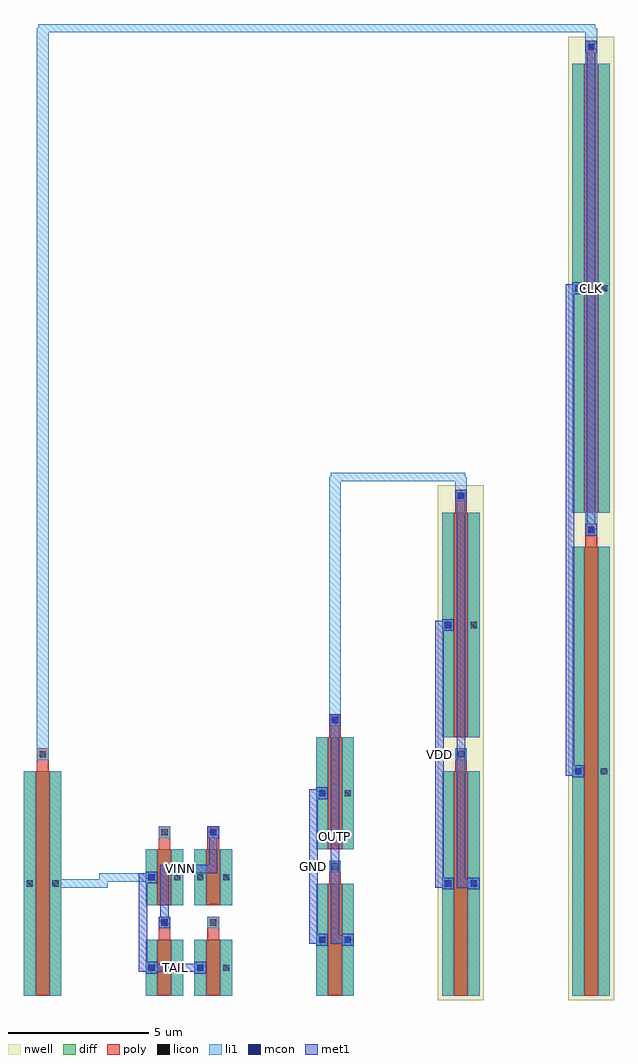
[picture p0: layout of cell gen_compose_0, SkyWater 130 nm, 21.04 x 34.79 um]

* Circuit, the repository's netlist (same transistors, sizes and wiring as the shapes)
* extracted by klt extract --deck sky130

* cell gen_compose_0
* pin CLK
* pin GND
* pin OUTP
* pin TAIL
* pin VDD
* pin VINN
* pin vsubs
.SUBCKT gen_compose_0 CLK GND OUTP TAIL VDD VINN vsubs
* device instance $1 r0 *1 5.01,1 nfet
M$1 \$7 VINN TAIL vsubs nfet L=0.5U W=2U AS=0.84P AD=0.84P PS=4.84U PD=4.84U
* device instance $2 r0 *1 6.75,1 nfet
M$2 \$8 \$1 TAIL vsubs nfet L=0.5U W=2U AS=0.84P AD=0.84P PS=4.84U PD=4.84U
* device instance $3 r0 *1 11.09,2 nfet
M$3 OUTP \$2 GND vsubs nfet L=0.5U W=4U AS=1.68P AD=1.68P PS=8.84U PD=8.84U
* device instance $4 r0 *1 5.01,4.22 nfet
M$4 \$11 \$5 TAIL vsubs nfet L=0.5U W=2U AS=0.84P AD=0.84P PS=4.84U PD=4.84U
* device instance $5 r0 *1 6.75,4.22 nfet
M$5 \$13 VINN \$12 vsubs nfet L=0.5U W=2U AS=0.84P AD=0.84P PS=4.84U PD=4.84U
* device instance $6 r0 *1 0.67,4 nfet
M$6 TAIL CLK \$10 vsubs nfet L=0.5U W=8U AS=3.36P AD=3.36P PS=16.84U PD=16.84U
* device instance $7 r0 *1 11.09,7.22 nfet
M$7 \$16 OUTP GND vsubs nfet L=0.5U W=4U AS=1.68P AD=1.68P PS=8.84U PD=8.84U
* device instance $8 r0 *1 15.58,4 pfet
M$8 OUTP \$3 VDD \$22 pfet L=0.5U W=8U AS=3.36P AD=3.36P PS=16.84U PD=16.84U
* device instance $9 r0 *1 20.22,8 pfet
M$9 \$19 CLK \$18 \$23 pfet L=0.5U W=16U AS=6.72P AD=6.72P PS=32.84U PD=32.84U
* device instance $10 r0 *1 15.58,13.22 pfet
M$10 \$17 OUTP VDD \$22 pfet L=0.5U W=8U AS=3.36P AD=3.36P PS=16.84U PD=16.84U
* device instance $11 r0 *1 20.22,25.22 pfet
M$11 \$21 CLK \$18 \$23 pfet L=0.5U W=16U AS=6.72P AD=6.72P PS=32.84U PD=32.84U
.ENDS gen_compose_0

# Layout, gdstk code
import gdstk
lib = gdstk.Library(unit=1e-6, precision=1e-09)
def R(c, l, rs):  # rectangles x0, y0, x1, y1
    for r in rs: c.add(gdstk.rectangle(r[:2], r[2:], *l))
nwell = (64, 20)
diff = (65, 20)
poly = (66, 20)
licon = (66, 44)
li1 = (67, 20)
mcon = (67, 44)
met1 = (68, 20)

mos_array = lib.new_cell('mos_array')
R(mos_array, diff, [(0,0,1.34,8)])
R(mos_array, poly, [(0.42,0,0.92,8), (0.46,8,0.88,8.82)])
R(mos_array, licon, [(0.1,3.89,0.32,4.11), (1.02,3.89,1.24,4.11), (0.56,8.5,0.78,8.72)])
R(mos_array, li1, [(0,0,0.42,8), (0.92,0,1.34,8), (0.46,8.4,0.88,8.82)])

tail__tail = lib.new_cell('tail__TAIL')
tail__tail.add(gdstk.Reference(mos_array, (0,0)))

diff_pair = lib.new_cell('diff_pair')
R(diff_pair, diff, [(0,0,1.34,2), (1.74,0,3.08,2), (0,3.22,1.34,5.22), (1.74,3.22,3.08,5.22)])
R(diff_pair, poly, [(0.42,0,0.92,2), (2.16,0,2.66,2), (0.46,2,0.88,2.82), (2.2,2,2.62,2.82), (0.42,3.22,0.92,5.22), (2.16,3.22,2.66,5.22), (0.46,5.22,0.88,6.04), (2.2,5.22,2.62,6.04)])
R(diff_pair, licon, [(0.1,0.89,0.32,1.11), (1.02,0.89,1.24,1.11), (1.84,0.89,2.06,1.11), (2.76,0.89,2.98,1.11), (0.56,2.5,0.78,2.72), (2.3,2.5,2.52,2.72), (0.1,4.11,0.32,4.33), (1.02,4.11,1.24,4.33), (1.84,4.11,2.06,4.33), (2.76,4.11,2.98,4.33), (0.56,5.72,0.78,5.94), (2.3,5.72,2.52,5.94)])
R(diff_pair, li1, [(0,0,0.42,2), (0.92,0,1.34,2), (1.74,0,2.16,2), (2.66,0,3.08,2), (0.46,2.4,0.88,2.82), (2.2,2.4,2.62,2.82), (0,3.22,0.42,5.22), (0.92,3.22,1.34,5.22), (1.74,3.22,2.16,5.22), (2.66,3.22,3.08,5.22), (0.46,5.62,0.88,6.04), (2.2,5.62,2.62,6.04)])

inpair__inpair = lib.new_cell('inpair__INPAIR')
inpair__inpair.add(gdstk.Reference(diff_pair, (0,0)))

diff_pair_1 = lib.new_cell('diff_pair$1')
R(diff_pair_1, diff, [(0,0,1.34,4), (0,5.22,1.34,9.22)])
R(diff_pair_1, poly, [(0.42,0,0.92,4), (0.46,4,0.88,4.82), (0.42,5.22,0.92,9.22), (0.46,9.22,0.88,10.04)])
R(diff_pair_1, licon, [(0.1,1.89,0.32,2.11), (1.02,1.89,1.24,2.11), (0.56,4.5,0.78,4.72), (0.1,7.11,0.32,7.33), (1.02,7.11,1.24,7.33), (0.56,9.72,0.78,9.94)])
R(diff_pair_1, li1, [(0,0,0.42,4), (0.92,0,1.34,4), (0.46,4.4,0.88,4.82), (0,5.22,0.42,9.22), (0.92,5.22,1.34,9.22), (0.46,9.62,0.88,10.04)])

latn__latn = lib.new_cell('latn__LATN')
latn__latn.add(gdstk.Reference(diff_pair_1, (0,0)))

diff_pair_2 = lib.new_cell('diff_pair$2')
R(diff_pair_2, nwell, [(-0.15,-0.15,1.49,18.19)])
R(diff_pair_2, diff, [(0,0,1.34,8), (0,9.22,1.34,17.22)])
R(diff_pair_2, poly, [(0.42,0,0.92,8), (0.46,8,0.88,8.82), (0.42,9.22,0.92,17.22), (0.46,17.22,0.88,18.04)])
R(diff_pair_2, licon, [(0.1,3.89,0.32,4.11), (1.02,3.89,1.24,4.11), (0.56,8.5,0.78,8.72), (0.1,13.11,0.32,13.33), (1.02,13.11,1.24,13.33), (0.56,17.72,0.78,17.94)])
R(diff_pair_2, li1, [(0,0,0.42,8), (0.92,0,1.34,8), (0.46,8.4,0.88,8.82), (0,9.22,0.42,17.22), (0.92,9.22,1.34,17.22), (0.46,17.62,0.88,18.04)])

latp__latp = lib.new_cell('latp__LATP')
latp__latp.add(gdstk.Reference(diff_pair_2, (0,0)))

diff_pair_3 = lib.new_cell('diff_pair$3')
R(diff_pair_3, nwell, [(-0.15,-0.15,1.49,34.19)])
R(diff_pair_3, diff, [(0,0,1.34,16), (0,17.22,1.34,33.22)])
R(diff_pair_3, poly, [(0.42,0,0.92,16), (0.46,16,0.88,16.82), (0.42,17.22,0.92,33.22), (0.46,33.22,0.88,34.04)])
R(diff_pair_3, licon, [(0.1,7.89,0.32,8.11), (1.02,7.89,1.24,8.11), (0.56,16.5,0.78,16.72), (0.1,25.11,0.32,25.33), (1.02,25.11,1.24,25.33), (0.56,33.72,0.78,33.94)])
R(diff_pair_3, li1, [(0,0,0.42,16), (0.92,0,1.34,16), (0.46,16.4,0.88,16.82), (0,17.22,0.42,33.22), (0.92,17.22,1.34,33.22), (0.46,33.62,0.88,34.04)])

rst__rst = lib.new_cell('rst__RST')
rst__rst.add(gdstk.Reference(diff_pair_3, (0,0)))

gen_compose_0 = lib.new_cell('gen_compose_0')
R(gen_compose_0, li1, [(4.34,0.79,4.76,1.21), (4.34,0.79,4.76,1.21), (6.08,0.79,6.5,1.21), (10.42,1.79,10.84,2.21), (11.34,1.79,11.76,2.21), (4.8,2.4,5.22,2.82), (14.91,3.79,15.33,4.21), (15.83,3.79,16.25,4.21), (4.34,4.01,4.76,4.43), (6.54,5.62,6.96,6.04), (10.42,7.01,10.84,7.43), (19.55,7.79,19.97,8.21), (0.46,8.61,0.88,34.49), (10.88,9.62,11.3,10.04), (10.88,9.83,11.3,18.49), (14.91,13.01,15.33,13.43), (20.01,16.4,20.43,16.82), (20.01,16.61,20.43,34.49), (15.37,17.62,15.79,18.04), (15.37,17.83,15.79,18.49), (19.55,25.01,19.97,25.43), (20.01,33.62,20.43,34.04)])
R(gen_compose_0, mcon, [(4.44,0.89,4.66,1.11), (4.44,0.89,4.66,1.11), (6.18,0.89,6.4,1.11), (10.52,1.89,10.74,2.11), (11.44,1.89,11.66,2.11), (4.9,2.5,5.12,2.72), (15.01,3.89,15.23,4.11), (15.93,3.89,16.15,4.11), (4.44,4.11,4.66,4.33), (6.64,5.72,6.86,5.94), (10.52,7.11,10.74,7.33), (19.65,7.89,19.87,8.11), (10.98,9.72,11.2,9.94), (15.01,13.11,15.23,13.33), (20.11,16.5,20.33,16.72), (15.47,17.72,15.69,17.94), (19.65,25.11,19.87,25.33), (20.11,33.72,20.33,33.94)])
R(gen_compose_0, met1, [(4.34,0.79,4.76,1.21), (4.34,0.79,4.76,1.21), (6.08,0.79,6.5,1.21), (10.42,1.79,10.84,2.21), (11.34,1.79,11.76,2.21), (4.8,2.4,5.22,2.82), (14.91,3.79,15.33,4.21), (15.83,3.79,16.25,4.21), (4.34,4.01,4.76,4.43), (6.54,5.62,6.96,6.04), (10.42,7.01,10.84,7.43), (19.55,7.79,19.97,8.21), (10.88,9.62,11.3,10.04), (14.91,13.01,15.33,13.43), (20.01,16.4,20.43,16.82), (15.37,17.62,15.79,18.04), (19.55,25.01,19.97,25.43), (20.01,33.62,20.43,34.04)])
gen_compose_0.add(gdstk.FlexPath([(0.67,8.61),(0.67,34.49),(20.22,34.49),(20.22,16.61)], 0.3, ends="flush", simple_path=True, layer=67, datatype=20))  # li1
gen_compose_0.add(gdstk.FlexPath([(1.13,4),(2.84,4),(2.84,4.22),(4.55,4.22)], 0.3, ends="flush", simple_path=True, layer=67, datatype=20))  # li1
gen_compose_0.add(gdstk.FlexPath([(11.09,9.83),(11.09,18.49),(15.58,18.49),(15.58,17.83)], 0.3, ends="flush", simple_path=True, layer=67, datatype=20))  # li1
gen_compose_0.add(gdstk.FlexPath([(5.01,2.61),(5.01,4.52),(6.75,4.52),(6.75,5.83)], 0.3, ends="flush", simple_path=True, layer=68, datatype=20))  # met1
gen_compose_0.add(gdstk.FlexPath([(10.63,2),(10.33,2),(10.33,7.22),(10.63,7.22)], 0.3, ends="flush", simple_path=True, layer=68, datatype=20))  # met1
gen_compose_0.add(gdstk.FlexPath([(20.22,16.61),(20.22,33.83)], 0.3, ends="flush", simple_path=True, layer=68, datatype=20))  # met1
gen_compose_0.add(gdstk.FlexPath([(4.55,1),(6.29,1)], 0.3, ends="flush", simple_path=True, layer=68, datatype=20))  # met1
gen_compose_0.add(gdstk.FlexPath([(4.55,1),(4.25,1),(4.25,4.22),(4.55,4.22)], 0.3, ends="flush", simple_path=True, layer=68, datatype=20))  # met1
gen_compose_0.add(gdstk.FlexPath([(15.12,4),(14.82,4),(14.82,13.22),(15.12,13.22)], 0.3, ends="flush", simple_path=True, layer=68, datatype=20))  # met1
gen_compose_0.add(gdstk.FlexPath([(19.76,8),(19.46,8),(19.46,25.22),(19.76,25.22)], 0.3, ends="flush", simple_path=True, layer=68, datatype=20))  # met1
gen_compose_0.add(gdstk.FlexPath([(11.55,2),(11.09,2),(11.09,9.83)], 0.3, ends="flush", simple_path=True, layer=68, datatype=20))  # met1
gen_compose_0.add(gdstk.FlexPath([(16.04,4),(15.58,4),(15.58,17.83)], 0.3, ends="flush", simple_path=True, layer=68, datatype=20))  # met1
gen_compose_0.add(gdstk.Reference(tail__tail, (0,0)))
gen_compose_0.add(gdstk.Reference(inpair__inpair, (4.34,0)))
gen_compose_0.add(gdstk.Reference(latn__latn, (10.42,0)))
gen_compose_0.add(gdstk.Reference(latp__latp, (14.91,0)))
gen_compose_0.add(gdstk.Reference(rst__rst, (19.55,0)))
gen_compose_0.add(gdstk.Label('VINN', (5.58,4.52), layer=68, texttype=5))
gen_compose_0.add(gdstk.Label('GND', (10.33,4.61), layer=68, texttype=5))
gen_compose_0.add(gdstk.Label('CLK', (20.22,25.22), layer=68, texttype=5))
gen_compose_0.add(gdstk.Label('TAIL', (5.42,1), layer=68, texttype=5))
gen_compose_0.add(gdstk.Label('VDD', (14.82,8.61), layer=68, texttype=5))
gen_compose_0.add(gdstk.Label('OUTP', (11.09,5.685), layer=68, texttype=5))

lib.write_gds('gen_compose_0.gds')
